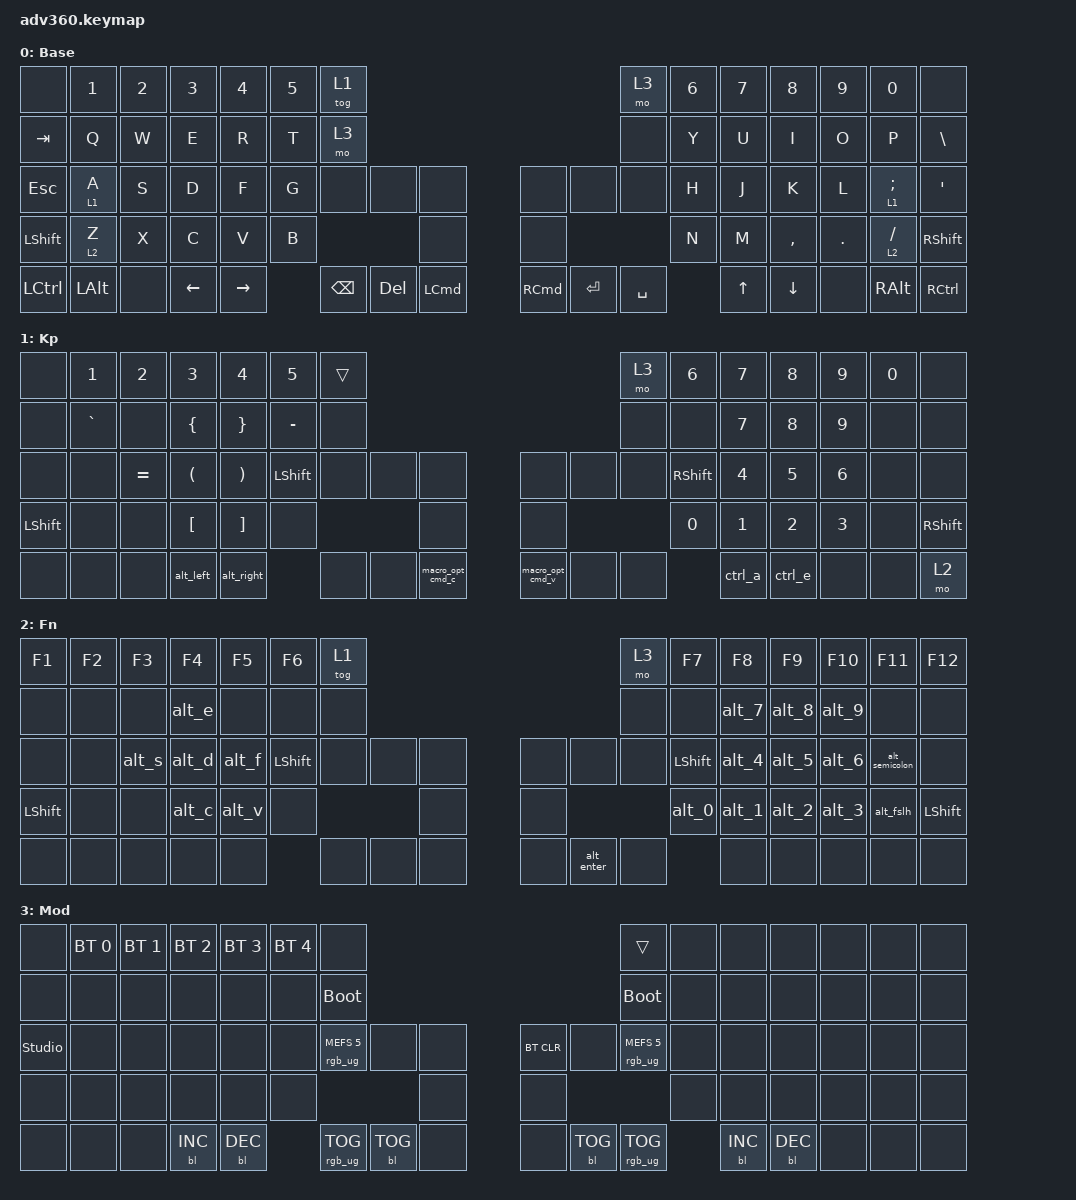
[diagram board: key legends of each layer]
#include <dt-bindings/zmk/stp.h>
#include <behaviors.dtsi>
#include <dt-bindings/zmk/backlight.h>
#include <dt-bindings/zmk/bt.h>
#include <dt-bindings/zmk/keys.h>
#include <dt-bindings/zmk/rgb.h>

/ {
    behaviors {
        #include "macros.dtsi"
      #include "version.dtsi"

        hm: homerow_mods {
            compatible = "zmk,behavior-hold-tap";
            label = "HOMEROW_MODS";
            #binding-cells = <2>;
            tapping-term-ms = <200>;
            quick_tap_ms = <175>;
            flavor = "tap-preferred";
            bindings = <&kp>, <&kp>;
        };

        alt_mod_shift_w: alt_mod_shift_w {
            compatible = "zmk,behavior-mod-morph";
            label = "ALT_MOD_SHIFT_W";
            bindings = <&alt_e>, <&alt_shift_w>;

            #binding-cells = <0>;
            mods = <(MOD_LSFT|MOD_RSFT)>;
        };

        alt_mod_shift_a: alt_mod_shift_a {
            compatible = "zmk,behavior-mod-morph";
            label = "ALT_MOD_SHIFT_A";
            bindings = <&alt_f>, <&alt_shift_a>;

            #binding-cells = <0>;
            mods = <(MOD_LSFT|MOD_RSFT)>;
        };

        alt_mod_shift_s: alt_mod_shift_s {
            compatible = "zmk,behavior-mod-morph";
            label = "ALT_MOD_SHIFT_S";
            bindings = <&alt_s>, <&alt_shift_s>;

            #binding-cells = <0>;
            mods = <(MOD_LSFT|MOD_RSFT)>;
        };

        alt_mod_shift_d: alt_mod_shift_d {
            compatible = "zmk,behavior-mod-morph";
            label = "ALT_MOD_SHIFT_D";
            bindings = <&alt_d>, <&alt_shift_d>;

            #binding-cells = <0>;
            mods = <(MOD_LSFT|MOD_RSFT)>;
        };

        alt_mod_shift_semicolon: alt_mod_shift_semicolon {
            compatible = "zmk,behavior-mod-morph";
            label = "ALT_MOD_SHIFT_SEMICOLON";
            bindings = <&alt_semicolon>, <&alt_shift_semicolon>;

            #binding-cells = <0>;
            mods = <(MOD_LSFT|MOD_RSFT)>;
        };
    };

    macros {
        macro_opt_cmd_c: macro_opt_cmd_c {
            compatible = "zmk,behavior-macro";
            #binding-cells = <0>;
            bindings =
                <&macro_press>,
                <&kp LALT &kp LGUI>,
                <&macro_tap>,
                <&kp C>,
                <&macro_release>,
                <&kp LALT &kp LGUI>;

            label = "MACRO_OPT_CMD_C";
        };

        macro_opt_cmd_v: macro_opt_cmd_v {
            compatible = "zmk,behavior-macro";
            #binding-cells = <0>;
            bindings =
                <&macro_press>,
                <&kp LALT &kp LGUI>,
                <&macro_tap>,
                <&kp V>,
                <&macro_release>,
                <&kp LALT &kp LGUI>;

            label = "MACRO_OPT_CMD_V";
        };

        ctrl_a: ctrl_a {
            compatible = "zmk,behavior-macro";
            #binding-cells = <0>;
            bindings =
                <&macro_press>,
                <&kp LCTRL>,
                <&macro_tap>,
                <&kp A>,
                <&macro_release>,
                <&kp LCTRL>;

            label = "CTRL_A";
        };

        ctrl_e: ctrl_e {
            compatible = "zmk,behavior-macro";
            #binding-cells = <0>;
            bindings =
                <&macro_press>,
                <&kp LCTRL>,
                <&macro_tap>,
                <&kp E>,
                <&macro_release>,
                <&kp LCTRL>;

            label = "CTRL_E";
        };

        alt_left: alt_left {
            compatible = "zmk,behavior-macro";
            #binding-cells = <0>;
            bindings =
                <&macro_press>,
                <&kp LALT>,
                <&macro_tap>,
                <&kp LEFT>,
                <&macro_release>,
                <&kp LALT>;

            label = "ALT_LEFT";
        };

        alt_right: alt_right {
            compatible = "zmk,behavior-macro";
            #binding-cells = <0>;
            bindings =
                <&macro_press>,
                <&kp LALT>,
                <&macro_tap>,
                <&kp RIGHT>,
                <&macro_release>,
                <&kp LALT>;

            label = "ALT_RIGHT";
        };

        alt_0: alt_0 {
            compatible = "zmk,behavior-macro";
            #binding-cells = <0>;
            bindings =
                <&macro_press>,
                <&kp LALT>,
                <&macro_tap>,
                <&kp NUMBER_0>,
                <&macro_release>,
                <&kp LALT>;

            label = "ALT_0";
        };

        alt_1: alt_1 {
            compatible = "zmk,behavior-macro";
            #binding-cells = <0>;
            bindings =
                <&macro_press>,
                <&kp LALT>,
                <&macro_tap>,
                <&kp NUMBER_1>,
                <&macro_release>,
                <&kp LALT>;

            label = "ALT_1";
        };

        alt_2: alt_2 {
            compatible = "zmk,behavior-macro";
            #binding-cells = <0>;
            bindings =
                <&macro_press>,
                <&kp LALT>,
                <&macro_tap>,
                <&kp NUMBER_2>,
                <&macro_release>,
                <&kp LALT>;

            label = "ALT_2";
        };

        alt_3: alt_3 {
            compatible = "zmk,behavior-macro";
            #binding-cells = <0>;
            bindings =
                <&macro_press>,
                <&kp LALT>,
                <&macro_tap>,
                <&kp NUMBER_3>,
                <&macro_release>,
                <&kp LALT>;

            label = "ALT_3";
        };

        alt_4: alt_4 {
            compatible = "zmk,behavior-macro";
            #binding-cells = <0>;
            bindings =
                <&macro_press>,
                <&kp LALT>,
                <&macro_tap>,
                <&kp NUMBER_4>,
                <&macro_release>,
                <&kp LALT>;

            label = "ALT_4";
        };

        alt_5: alt_5 {
            compatible = "zmk,behavior-macro";
            #binding-cells = <0>;
            bindings =
                <&macro_press>,
                <&kp LALT>,
                <&macro_tap>,
                <&kp NUMBER_5>,
                <&macro_release>,
                <&kp LALT>;

            label = "ALT_5";
        };

        alt_6: alt_6 {
            compatible = "zmk,behavior-macro";
            #binding-cells = <0>;
            bindings =
                <&macro_press>,
                <&kp LALT>,
                <&macro_tap>,
                <&kp NUMBER_6>,
                <&macro_release>,
                <&kp LALT>;

            label = "ALT_6";
        };

        alt_7: alt_7 {
            compatible = "zmk,behavior-macro";
            #binding-cells = <0>;
            bindings =
                <&macro_press>,
                <&kp LALT>,
                <&macro_tap>,
                <&kp NUMBER_7>,
                <&macro_release>,
                <&kp LALT>;

            label = "ALT_7";
        };

        alt_8: alt_8 {
            compatible = "zmk,behavior-macro";
            #binding-cells = <0>;
            bindings =
                <&macro_press>,
                <&kp LALT>,
                <&macro_tap>,
                <&kp NUMBER_8>,
                <&macro_release>,
                <&kp LALT>;

            label = "ALT_8";
        };

        alt_9: alt_9 {
            compatible = "zmk,behavior-macro";
            #binding-cells = <0>;
            bindings =
                <&macro_press>,
                <&kp LALT>,
                <&macro_tap>,
                <&kp NUMBER_9>,
                <&macro_release>,
                <&kp LALT>;

            label = "ALT_9";
        };

        alt_enter: alt_enter {
            compatible = "zmk,behavior-macro";
            #binding-cells = <0>;
            bindings =
                <&macro_press>,
                <&kp LALT>,
                <&macro_tap>,
                <&kp ENTER>,
                <&macro_release>,
                <&kp LALT>;

            label = "ALT_ENTER";
        };

        alt_tab: alt_tab {
            compatible = "zmk,behavior-macro";
            #binding-cells = <0>;
            bindings =
                <&macro_press>,
                <&kp LALT>,
                <&macro_tap>,
                <&kp TAB>,
                <&macro_release>,
                <&kp LALT>;

            label = "ALT_TAB";
        };

        alt_fslh: alt_fslh {
            compatible = "zmk,behavior-macro";
            #binding-cells = <0>;
            bindings =
                <&macro_press>,
                <&kp LALT>,
                <&macro_tap>,
                <&kp FSLH>,
                <&macro_release>,
                <&kp LALT>;

            label = "ALT_FSLH";
        };

        alt_comma: alt_comma {
            compatible = "zmk,behavior-macro";
            #binding-cells = <0>;
            bindings =
                <&macro_press>,
                <&kp LALT>,
                <&macro_tap>,
                <&kp COMMA>,
                <&macro_release>,
                <&kp LALT>;

            label = "ALT_COMMA";
        };

        alt_semicolon: alt_semicolon {
            compatible = "zmk,behavior-macro";
            #binding-cells = <0>;
            bindings =
                <&macro_press>,
                <&kp LALT>,
                <&macro_tap>,
                <&kp SEMICOLON>,
                <&macro_release>,
                <&kp LALT>;

            label = "ALT_SEMICOLON";
        };

        alt_e: alt_e {
            compatible = "zmk,behavior-macro";
            #binding-cells = <0>;
            bindings =
                <&macro_press>,
                <&kp LALT>,
                <&macro_tap>,
                <&kp E>,
                <&macro_release>,
                <&kp LALT>;

            label = "ALT_E";
        };

        alt_s: alt_s {
            compatible = "zmk,behavior-macro";
            #binding-cells = <0>;
            bindings =
                <&macro_press>,
                <&kp LALT>,
                <&macro_tap>,
                <&kp S>,
                <&macro_release>,
                <&kp LALT>;

            label = "ALT_S";
        };

        alt_d: alt_d {
            compatible = "zmk,behavior-macro";
            #binding-cells = <0>;
            bindings =
                <&macro_press>,
                <&kp LALT>,
                <&macro_tap>,
                <&kp D>,
                <&macro_release>,
                <&kp LALT>;

            label = "ALT_D";
        };

        alt_f: alt_f {
            compatible = "zmk,behavior-macro";
            #binding-cells = <0>;
            bindings =
                <&macro_press>,
                <&kp LALT>,
                <&macro_tap>,
                <&kp F>,
                <&macro_release>,
                <&kp LALT>;

            label = "ALT_F";
        };

        alt_c: alt_c {
            compatible = "zmk,behavior-macro";
            #binding-cells = <0>;
            bindings =
                <&macro_press>,
                <&kp LALT>,
                <&macro_tap>,
                <&kp C>,
                <&macro_release>,
                <&kp LALT>;

            label = "ALT_C";
        };

        alt_v: alt_v {
            compatible = "zmk,behavior-macro";
            #binding-cells = <0>;
            bindings =
                <&macro_press>,
                <&kp LALT>,
                <&macro_tap>,
                <&kp V>,
                <&macro_release>,
                <&kp LALT>;

            label = "ALT_V";
        };

        alt_shift_w: alt_shift_w {
            compatible = "zmk,behavior-macro";
            #binding-cells = <0>;
            bindings =
                <&macro_press>,
                <&kp LALT>,
                <&macro_press>,
                <&kp LSHIFT>,
                <&macro_tap>,
                <&kp W>,
                <&macro_release>,
                <&kp LSHIFT>,
                <&macro_release>,
                <&kp LALT>;

            label = "ALT_SHIFT_W";
        };

        alt_shift_a: alt_shift_a {
            compatible = "zmk,behavior-macro";
            #binding-cells = <0>;
            bindings =
                <&macro_press>,
                <&kp LALT>,
                <&macro_press>,
                <&kp LSHIFT>,
                <&macro_tap>,
                <&kp A>,
                <&macro_release>,
                <&kp LSHIFT>,
                <&macro_release>,
                <&kp LALT>;

            label = "ALT_SHIFT_A";
        };

        alt_shift_s: alt_shift_s {
            compatible = "zmk,behavior-macro";
            #binding-cells = <0>;
            bindings =
                <&macro_press>,
                <&kp LALT>,
                <&macro_press>,
                <&kp LSHIFT>,
                <&macro_tap>,
                <&kp S>,
                <&macro_release>,
                <&kp LSHIFT>,
                <&macro_release>,
                <&kp LALT>;

            label = "ALT_SHIFT_S";
        };

        alt_shift_d: alt_shift_d {
            compatible = "zmk,behavior-macro";
            #binding-cells = <0>;
            bindings =
                <&macro_press>,
                <&kp LALT>,
                <&macro_press>,
                <&kp LSHIFT>,
                <&macro_tap>,
                <&kp D>,
                <&macro_release>,
                <&kp LSHIFT>,
                <&macro_release>,
                <&kp LALT>;

            label = "ALT_SHIFT_D";
        };

        alt_shift_semicolon: alt_shift_semicolon {
            compatible = "zmk,behavior-macro";
            #binding-cells = <0>;
            bindings =
                <&macro_press>,
                <&kp LALT>,
                <&macro_press>,
                <&kp LSHIFT>,
                <&macro_tap>,
                <&kp SEMICOLON>,
                <&macro_release>,
                <&kp LSHIFT>,
                <&macro_release>,
                <&kp LALT>;

            label = "ALT_SHIFT_SEMICOLON";
        };
    };

    keymap {
        compatible = "zmk,keymap";

        default_layer {
            display-name = "Base";
            bindings = <
&none      &kp N1    &kp N2  &kp N3    &kp N4     &kp N5  &tog 1                                                                 &mo 3      &kp N6  &kp N7  &kp N8     &kp N9   &kp N0           &none
&kp TAB    &kp Q     &kp W   &kp E     &kp R      &kp T   &mo 3                                                                  &none      &kp Y   &kp U   &kp I      &kp O    &kp P            &kp BSLH
&kp ESC    &lt 1 A   &kp S   &kp D     &kp F      &kp G   &none     &none    &none                 &none              &none      &none      &kp H   &kp J   &kp K      &kp L    &lt 1 SEMICOLON  &kp SQT
&kp LSHFT  &lt 2 Z   &kp X   &kp C     &kp V      &kp B                      &none                 &none                                    &kp N   &kp M   &kp COMMA  &kp DOT  &lt 2 FSLH       &kp RSHFT
&kp LCTRL  &kp LALT  &none   &kp LEFT  &kp RIGHT          &kp BSPC  &kp DEL  &kp LEFT_COMMAND      &kp RIGHT_COMMAND  &kp ENTER  &kp SPACE          &kp UP  &kp DOWN   &none    &kp RALT         &kp RCTRL
            >;
        };

        keypad {
            display-name = "Kp";
            bindings = <
&none      &kp N1     &kp N2     &kp N3                &kp N4                 &kp N5          &trans                                                        &mo 3  &kp N6           &kp NUMBER_7  &kp NUMBER_8  &kp NUMBER_9  &kp NUMBER_0  &none
&none      &kp GRAVE  &none      &kp LEFT_BRACE        &kp RIGHT_BRACE        &kp MINUS       &none                                                         &none  &none            &kp N7        &kp N8        &kp N9        &none         &none
&none      &none      &kp EQUAL  &kp LEFT_PARENTHESIS  &kp RIGHT_PARENTHESIS  &kp LEFT_SHIFT  &none   &none  &none                 &none             &none  &none  &kp RIGHT_SHIFT  &kp NUMBER_4  &kp N5        &kp NUMBER_6  &none         &none
&kp LSHFT  &none      &none      &kp LEFT_BRACKET      &kp RIGHT_BRACKET      &none                          &none                 &none                           &kp NUMBER_0     &kp NUMBER_1  &kp NUMBER_2  &kp NUMBER_3  &none         &kp RSHFT
&none      &none      &none      &alt_left             &alt_right                             &none   &none  &macro_opt_cmd_c      &macro_opt_cmd_v  &none  &none                   &ctrl_a       &ctrl_e       &none         &none         &mo 2
            >;
        };

        fn {
            display-name = "Fn";
            bindings = <
&kp F1      &kp F2  &kp F3  &kp F4  &kp F5  &kp F6      &tog 1                                       &mo 3  &kp F7     &kp F8  &kp F9  &kp F10  &kp F11         &kp F12
&none       &none   &none   &alt_e  &none   &none       &none                                        &none  &none      &alt_7  &alt_8  &alt_9   &none           &none
&none       &none   &alt_s  &alt_d  &alt_f  &kp LSHIFT  &none   &none  &none      &none  &none       &none  &kp LSHFT  &alt_4  &alt_5  &alt_6   &alt_semicolon  &none
&kp LSHIFT  &none   &none   &alt_c  &alt_v  &none                      &none      &none                     &alt_0     &alt_1  &alt_2  &alt_3   &alt_fslh       &kp LSHIFT
&none       &none   &none   &none   &none               &none   &none  &none      &none  &alt_enter  &none             &none   &none   &none    &none           &none
            >;
        };

        mod {
            display-name = "Mod";
            bindings = <
&none           &bt BT_SEL 0  &bt BT_SEL 1  &bt BT_SEL 2  &bt BT_SEL 3  &bt BT_SEL 4  &none                                                                  &trans                  &none  &none       &none       &none  &none  &none
&none           &none         &none         &none         &none         &none         &bootloader                                                            &bootloader             &none  &none       &none       &none  &none  &none
&studio_unlock  &none         &none         &none         &none         &none         &rgb_ug RGB_MEFS_CMD 5  &none       &none      &bt BT_CLR  &none       &rgb_ug RGB_MEFS_CMD 5  &none  &none       &none       &none  &none  &none
&none           &none         &none         &none         &none         &none                                             &none      &none                                           &none  &none       &none       &none  &none  &none
&none           &none         &none         &bl BL_INC    &bl BL_DEC                  &rgb_ug RGB_TOG         &bl BL_TOG  &none      &none       &bl BL_TOG  &rgb_ug RGB_TOG                &bl BL_INC  &bl BL_DEC  &none  &none  &none
            >;
        };

        extra1 {
            display-name = "Red";
            status = "reserved";
        };

        extra2 {
            display-name = "Purple";
            status = "reserved";
        };

        extra3 {
            display-name = "Cyan";
            status = "reserved";
        };

        extra4 {
            display-name = "Yellow";
            status = "reserved";
        };
    };
};
